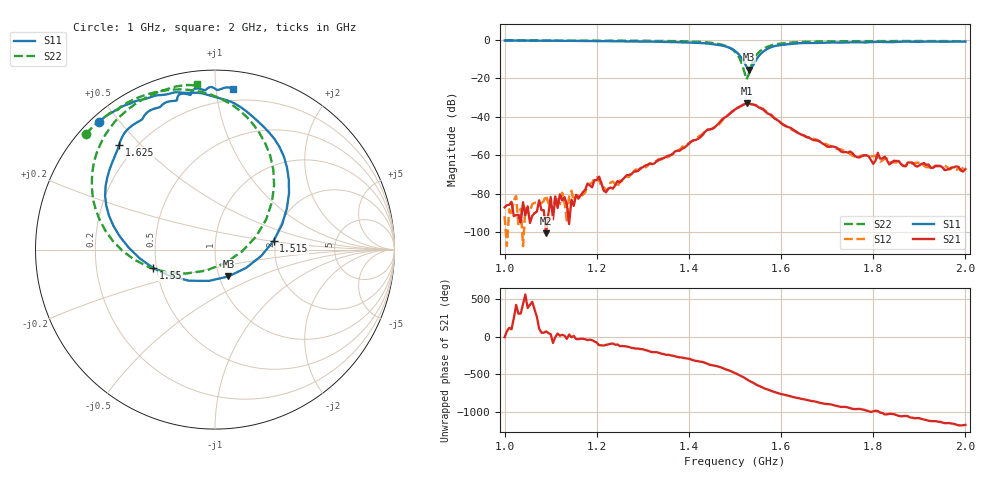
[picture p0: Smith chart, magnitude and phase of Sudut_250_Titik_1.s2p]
# Hz S RI R 50
! CMT, C1220, 16058040, 17.2.0/1
! Date: 14/08/2018 12:57:48
! Data: Format (Calibration Info)
! Freq  S11: Re/Im (F2)  S21: Re/Im (F2)  S12: Re/Im (F2)  S22: Re/Im (F2)
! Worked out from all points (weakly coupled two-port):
!   201 points, 1 GHz to 2 GHz, reference 50 ohm
!   highest |S21| = -32.91 dB at 1.525 GHz (marker M1); lowest = -100.7 dB at 1.09 GHz (marker M2)
!   lowest |S11| = -15.5 dB at 1.53 GHz (marker M3), VSWR 1.40, Z = 55.4 - j17 ohm
!   |S11| at or under -10 dB: 1.516 GHz to 1.547 GHz (31.18 MHz wide, 2.04 % of centre)
!   |S22| runs from -20.5 to -0.3 dB; largest |S21 - S12| = 0.00094
!   S11 on the Smith chart (normalised r, x): 1 GHz: 0.02, +0.44; 1.515 GHz: 1.95, +0.21; 1.55 GHz: 0.48, -0.11; 1.625 GHz: 0.14, +0.43; 2 GHz: 0.12, +1.11
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1e9  -0.6474 0.7119  4.36e-05 -4.43e-06  -2.14e-05 -1.4e-05  -0.7192 0.6456
1.09e9  -0.5507 0.778  2.91e-06 8.75e-06  8.24e-05 3.46e-05  -0.651 0.7102
1.17e9  -0.4606 0.819  9.67e-05 -4.99e-05  9.29e-05 -2e-05  -0.5768 0.7655
1.2e9  -0.4168 0.8334  4.76e-05 -0.000217  -3.09e-06 -0.000265  -0.5431 0.7775
1.205e9  -0.4103 0.8344  -0.000101 -0.000258  -7.48e-05 -0.000216  -0.5407 0.7784
1.22e9  -0.3887 0.8392  -3.46e-05 -0.000102  2.47e-06 -0.000123  -0.5311 0.7908
1.235e9  -0.3637 0.8474  1.17e-07 -0.000135  -0.000113 -0.000171  -0.514 0.8041
1.245e9  -0.3477 0.8538  -4.52e-05 -0.000207  -9.13e-05 -0.000116  -0.5015 0.8111
1.335e9  -0.1883 0.8743  -0.000627 0.000413  -0.000594 0.000541  -0.3601 0.8699
1.45e9  0.1935 0.7551  0.00457 -0.0014  0.00458 -0.00169  0.0466 0.8336
1.5e9  0.4123 0.3126  -0.00822 -0.013  -0.00771 -0.0122  0.3294 0.3601
1.515e9  0.326 0.0475  -0.019 -0.00431  -0.0191 -0.00488  0.2282 0.0721
1.525e9  0.1739 -0.1015  -0.021 0.0084  -0.0213 0.00836  0.0572 -0.0749
1.53e9  0.075 -0.1496  -0.0164 0.0145  -0.0166 0.0146  -0.0512 -0.1174
1.55e9  -0.3427 -0.104  0.00512 0.0172  0.00441 0.0175  -0.4494 -0.0563
1.58e9  -0.6065 0.248  0.0104 -0.000404  0.0108 -0.000826  -0.6757 0.265
1.625e9  -0.5339 0.5835  0.00096 -0.00463  0.00102 -0.00439  -0.6498 0.5615
1.67e9  -0.4184 0.7173  -0.00177 -0.00172  -0.00189 -0.00189  -0.567 0.701
1.8e9  -0.2048 0.858  -4.6e-06 0.000596  0.000161 0.000925  -0.3626 0.857
1.81e9  -0.1867 0.8682  -7.76e-05 0.00115  0.000364 0.000724  -0.3491 0.864
1.835e9  -0.1376 0.862  0.000316 0.000476  0.000433 0.000499  -0.3153 0.8779
2e9  0.0982 0.8957  -4.53e-06 -0.000433  -8.22e-05 -0.000501  -0.0977 0.9224
